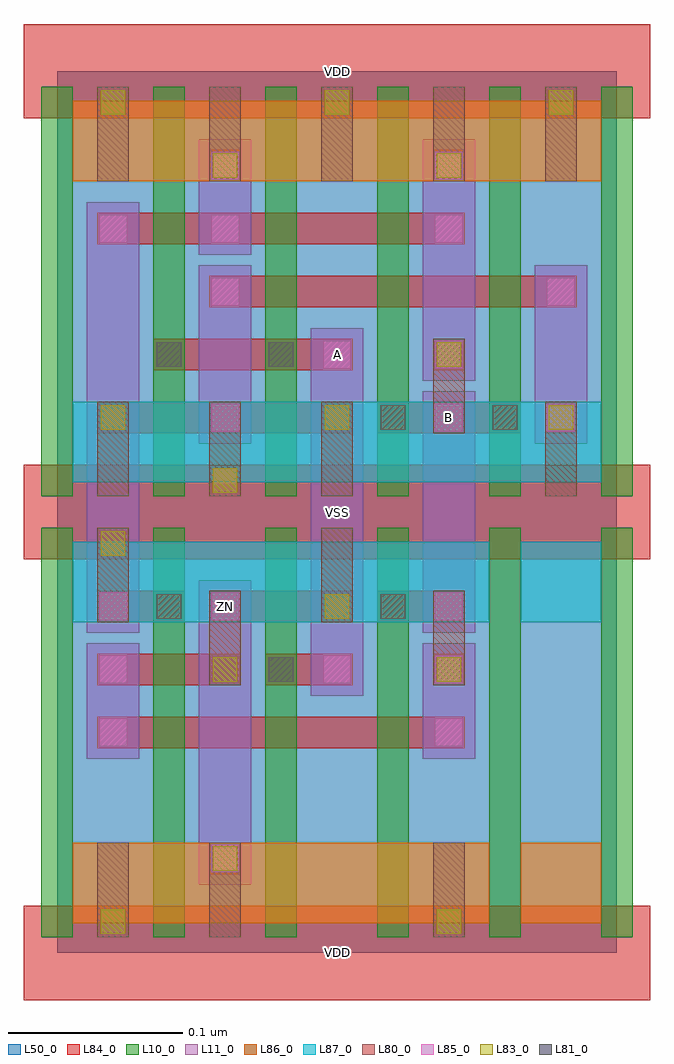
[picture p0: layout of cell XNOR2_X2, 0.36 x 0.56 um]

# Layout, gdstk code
import gdstk
lib = gdstk.Library(unit=1e-6, precision=1e-09)
def R(c, l, rs):  # rectangles x0, y0, x1, y1
    for r in rs: c.add(gdstk.rectangle(r[:2], r[2:], *l))
def A(c, l, x, y, w, h, nx, ny, dx, dy):  # array of equal rectangles
    R(c, l, [(x+i*dx, y+j*dy, x+i*dx+w, y+j*dy+h) for i in range(nx) for j in range(ny)])
L10_0 = (10, 0)
L11_0 = (11, 0)
L50_0 = (50, 0)
L80_0 = (80, 0)
L81_0 = (81, 0)
L83_0 = (83, 0)
L84_0 = (84, 0)
L85_0 = (85, 0)
L86_0 = (86, 0)
L87_0 = (87, 0)

xnor2_x2 = lib.new_cell('XNOR2_X2')
A(xnor2_x2, L10_0, -0.009, 0.009, 0.018, 0.234, 6, 2, 0.064, 0.252)
R(xnor2_x2, L11_0, [(0.081,0.039,0.111,0.213), (0.017,0.111,0.047,0.177), (0.209,0.111,0.239,0.177), (0.145,0.147,0.175,0.357), (0.017,0.183,0.047,0.429), (0.209,0.183,0.239,0.321), (0.081,0.291,0.111,0.393), (0.273,0.291,0.303,0.393), (0.209,0.327,0.239,0.465), (0.081,0.399,0.111,0.465)])
R(xnor2_x2, L50_0, [(0,0,0.32,0.504)])
A(xnor2_x2, L80_0, 0.215, 0.009, 0.018, 0.054, 1, 3, 0, 0.144)
A(xnor2_x2, L80_0, 0.023, 0.261, 0.018, 0.054, 3, 1, 0.064, 0)
A(xnor2_x2, L80_0, 0.023, 0.441, 0.018, 0.054, 5, 1, 0.064, 0)
R(xnor2_x2, L80_0, [(0.023,0.009,0.041,0.063), (0.087,0.009,0.105,0.063), (0.087,0.153,0.105,0.207), (0.023,0.189,0.041,0.243), (0.151,0.189,0.169,0.243), (0.279,0.261,0.297,0.315)])
R(xnor2_x2, L81_0, [(0.121,0.155,0.135,0.169), (0.057,0.191,0.071,0.205), (0.185,0.191,0.199,0.205), (0.185,0.299,0.199,0.313), (0.249,0.299,0.263,0.313), (0.057,0.335,0.071,0.349), (0.121,0.335,0.135,0.349)])
A(xnor2_x2, L83_0, 0.089, 0.047, 0.014, 0.014, 1, 3, 0, 0.108)
A(xnor2_x2, L83_0, 0.025, 0.299, 0.014, 0.014, 3, 2, 0.128, 0.18)
R(xnor2_x2, L83_0, [(0.025,0.011,0.039,0.025), (0.217,0.011,0.231,0.025), (0.217,0.155,0.231,0.169), (0.153,0.191,0.167,0.205), (0.025,0.227,0.039,0.241), (0.217,0.335,0.231,0.349), (0.089,0.443,0.103,0.457), (0.217,0.443,0.231,0.457)])
A(xnor2_x2, L84_0, -0.019, -0.027, 0.358, 0.054, 1, 3, 0, 0.252)
R(xnor2_x2, L84_0, [(0.087,0.045,0.105,0.063), (0.023,0.117,0.233,0.135), (0.023,0.153,0.105,0.171), (0.119,0.153,0.169,0.171), (0.215,0.153,0.233,0.171), (0.023,0.189,0.073,0.207), (0.087,0.189,0.169,0.207), (0.183,0.189,0.233,0.207), (0.023,0.297,0.169,0.315), (0.183,0.297,0.265,0.315), (0.279,0.297,0.297,0.315), (0.055,0.333,0.169,0.351), (0.215,0.333,0.233,0.351), (0.087,0.369,0.297,0.387), (0.023,0.405,0.233,0.423), (0.087,0.441,0.105,0.459), (0.215,0.441,0.233,0.459)])
A(xnor2_x2, L85_0, 0.024, 0.118, 0.016, 0.016, 1, 3, 0, 0.036)
A(xnor2_x2, L85_0, 0.216, 0.118, 0.016, 0.016, 1, 3, 0, 0.036)
A(xnor2_x2, L85_0, 0.088, 0.37, 0.016, 0.016, 1, 3, 0, 0.036)
R(xnor2_x2, L85_0, [(0.088,0.046,0.104,0.062), (0.152,0.154,0.168,0.17), (0.088,0.19,0.104,0.206), (0.088,0.298,0.104,0.314), (0.216,0.298,0.232,0.314), (0.28,0.298,0.296,0.314), (0.152,0.334,0.168,0.35), (0.216,0.334,0.232,0.35), (0.28,0.37,0.296,0.386), (0.024,0.406,0.04,0.422), (0.216,0.406,0.232,0.422), (0.216,0.442,0.232,0.458)])
R(xnor2_x2, L86_0, [(0.009,0.017,0.247,0.063), (0.265,0.017,0.311,0.063), (0.009,0.441,0.311,0.487)])
R(xnor2_x2, L87_0, [(0.009,0.189,0.247,0.235), (0.265,0.189,0.311,0.235), (0.009,0.269,0.311,0.315)])
xnor2_x2.add(gdstk.Label('VDD', (0.16,0.504), layer=88, texttype=0))
xnor2_x2.add(gdstk.Label('VDD', (0.16,0), layer=88, texttype=0))
xnor2_x2.add(gdstk.Label('VSS', (0.16,0.252), layer=88, texttype=0))
xnor2_x2.add(gdstk.Label('B', (0.224,0.306), layer=31, texttype=0))
xnor2_x2.add(gdstk.Label('ZN', (0.096,0.198), layer=31, texttype=0))
xnor2_x2.add(gdstk.Label('A', (0.16,0.342), layer=31, texttype=0))

lib.write_gds('XNOR2_X2.gds')
